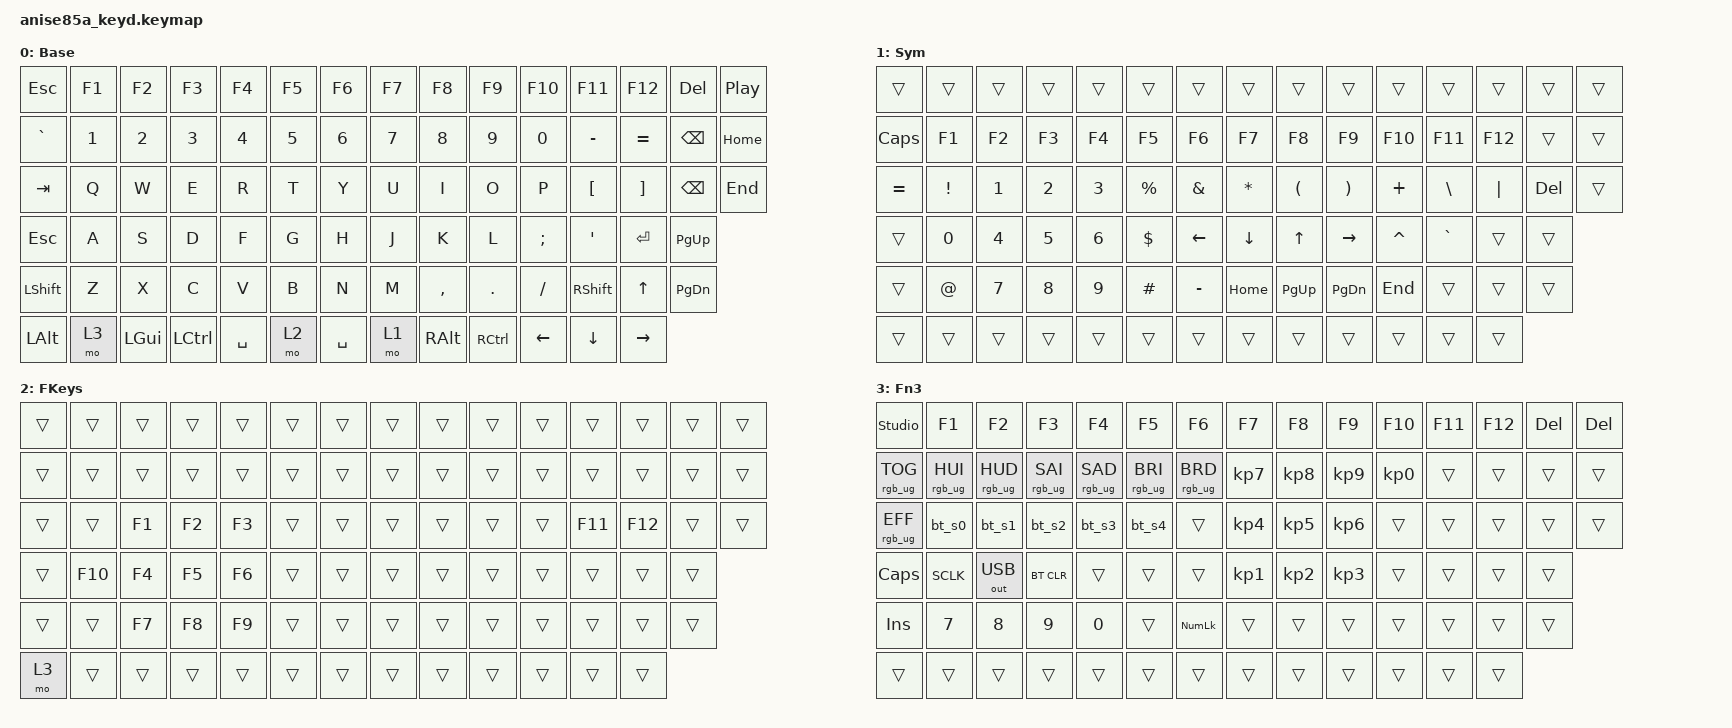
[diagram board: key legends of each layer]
#include <behaviors.dtsi>
#include <dt-bindings/zmk/bt.h>
#include <dt-bindings/zmk/rgb.h>
#include <dt-bindings/zmk/outputs.h>
#include <dt-bindings/zmk/keys.h>

/* keyd — The 60b keyd remap on the 85: Backspace on backslash, Fn1 holds symbols, arrows and F1-F12, Fn2 holds F-keys, Fn1+Fn2 is Fn3.
 * Generated by tools/pagegen/make_presets.py from anise85a. */

/ {
    behaviors {
        gresc: grave_escape {
            compatible = "zmk,behavior-mod-morph";
            label = "GRAVE_ESCAPE";
            #binding-cells = <0>;
            bindings = <&kp ESC>, <&kp GRAVE>;
            mods = <(MOD_LGUI|MOD_LSFT|MOD_RGUI|MOD_RSFT)>;
        };
    };
    macros {
        bt_s0: bt_s0 {
            label = "bt_s0";
            compatible = "zmk,behavior-macro";
            #binding-cells = <0>;
            bindings = <&macro_tap &out OUT_BLE &bt BT_SEL 0>;
        };
        bt_s1: bt_s1 {
            label = "bt_s1";
            compatible = "zmk,behavior-macro";
            #binding-cells = <0>;
            bindings = <&macro_tap &out OUT_BLE &bt BT_SEL 1>;
        };
        bt_s2: bt_s2 {
            label = "bt_s2";
            compatible = "zmk,behavior-macro";
            #binding-cells = <0>;
            bindings = <&macro_tap &out OUT_BLE &bt BT_SEL 2>;
        };
        bt_s3: bt_s3 {
            label = "bt_s3";
            compatible = "zmk,behavior-macro";
            #binding-cells = <0>;
            bindings = <&macro_tap &out OUT_BLE &bt BT_SEL 3>;
        };
        bt_s4: bt_s4 {
            label = "bt_s4";
            compatible = "zmk,behavior-macro";
            #binding-cells = <0>;
            bindings = <&macro_tap &out OUT_BLE &bt BT_SEL 4>;
        };
    };
    conditional_layers {
        compatible = "zmk,conditional-layers";
        cond_1_2 {
            if-layers = <1 2>;
            then-layer = <3>;
        };
    };
    keymap {
        compatible = "zmk,keymap";

        default_layer {
            display-name = "Base";
            bindings = <
    &kp ESC       &kp F1        &kp F2        &kp F3        &kp F4        &kp F5        &kp F6        &kp F7        &kp F8        &kp F9        &kp F10       &kp F11       &kp F12       &kp DEL       &kp C_PP
    &kp GRAVE     &kp N1        &kp N2        &kp N3        &kp N4        &kp N5        &kp N6        &kp N7        &kp N8        &kp N9        &kp N0        &kp MINUS     &kp EQUAL     &kp BSPC      &kp HOME
    &kp TAB       &kp Q         &kp W         &kp E         &kp R         &kp T         &kp Y         &kp U         &kp I         &kp O         &kp P         &kp LBKT      &kp RBKT      &kp BSPC      &kp END
    &kp ESC       &kp A         &kp S         &kp D         &kp F         &kp G         &kp H         &kp J         &kp K         &kp L         &kp SEMI      &kp SQT       &kp RET       &kp PG_UP
    &kp LSHFT     &kp Z         &kp X         &kp C         &kp V         &kp B         &kp N         &kp M         &kp COMMA     &kp DOT       &kp FSLH      &kp RSHFT     &kp UP        &kp PG_DN
    &kp LALT      &mo 3         &kp LGUI      &kp LCTRL     &kp SPACE     &mo 2         &kp SPACE     &mo 1         &kp RALT      &kp RCTRL     &kp LEFT      &kp DOWN      &kp RIGHT
            >;
        };

        fn_layer {
            display-name = "Sym";
            bindings = <
    &trans        &trans        &trans        &trans        &trans        &trans        &trans        &trans        &trans        &trans        &trans        &trans        &trans        &trans        &trans
    &kp CAPS      &kp F1        &kp F2        &kp F3        &kp F4        &kp F5        &kp F6        &kp F7        &kp F8        &kp F9        &kp F10       &kp F11       &kp F12       &trans        &trans
    &kp EQUAL     &kp EXCL      &kp N1        &kp N2        &kp N3        &kp PRCNT     &kp AMPS      &kp STAR      &kp LPAR      &kp RPAR      &kp PLUS      &kp BSLH      &kp PIPE      &kp DEL       &trans
    &trans        &kp N0        &kp N4        &kp N5        &kp N6        &kp DLLR      &kp LEFT      &kp DOWN      &kp UP        &kp RIGHT     &kp CARET     &kp GRAVE     &trans        &trans
    &trans        &kp AT        &kp N7        &kp N8        &kp N9        &kp HASH      &kp MINUS     &kp HOME      &kp PG_UP     &kp PG_DN     &kp END       &trans        &trans        &trans
    &trans        &trans        &trans        &trans        &trans        &trans        &trans        &trans        &trans        &trans        &trans        &trans        &trans
            >;
        };

        fn2_layer {
            display-name = "FKeys";
            bindings = <
    &trans        &trans        &trans        &trans        &trans        &trans        &trans        &trans        &trans        &trans        &trans        &trans        &trans        &trans        &trans
    &trans        &trans        &trans        &trans        &trans        &trans        &trans        &trans        &trans        &trans        &trans        &trans        &trans        &trans        &trans
    &trans        &trans        &kp F1        &kp F2        &kp F3        &trans        &trans        &trans        &trans        &trans        &trans        &kp F11       &kp F12       &trans        &trans
    &trans        &kp F10       &kp F4        &kp F5        &kp F6        &trans        &trans        &trans        &trans        &trans        &trans        &trans        &trans        &trans
    &trans        &trans        &kp F7        &kp F8        &kp F9        &trans        &trans        &trans        &trans        &trans        &trans        &trans        &trans        &trans
    &mo 3         &trans        &trans        &trans        &trans        &trans        &trans        &trans        &trans        &trans        &trans        &trans        &trans
            >;
        };

        kbd_func_layer {
            display-name = "Fn3";
            bindings = <
    &studio_unlock  &kp F1        &kp F2        &kp F3        &kp F4        &kp F5        &kp F6        &kp F7        &kp F8        &kp F9        &kp F10       &kp F11       &kp F12       &kp DEL       &kp DEL
    &rgb_ug RGB_TOG  &rgb_ug RGB_HUI  &rgb_ug RGB_HUD  &rgb_ug RGB_SAI  &rgb_ug RGB_SAD  &rgb_ug RGB_BRI  &rgb_ug RGB_BRD  &kp KP_N7     &kp KP_N8     &kp KP_N9     &kp KP_N0     &trans        &trans        &trans        &trans
    &rgb_ug RGB_EFF  &bt_s0        &bt_s1        &bt_s2        &bt_s3        &bt_s4        &trans        &kp KP_N4     &kp KP_N5     &kp KP_N6     &trans        &trans        &trans        &trans        &trans
    &kp CAPS      &kp SCLK      &out OUT_USB  &bt BT_CLR    &trans        &trans        &trans        &kp KP_N1     &kp KP_N2     &kp KP_N3     &trans        &trans        &trans        &trans
    &kp INS       &kp N7        &kp N8        &kp N9        &kp N0        &trans        &kp KP_NUM    &trans        &trans        &trans        &trans        &trans        &trans        &trans
    &trans        &trans        &trans        &trans        &trans        &trans        &trans        &trans        &trans        &trans        &trans        &trans        &trans
            >;
        };
    };
};
